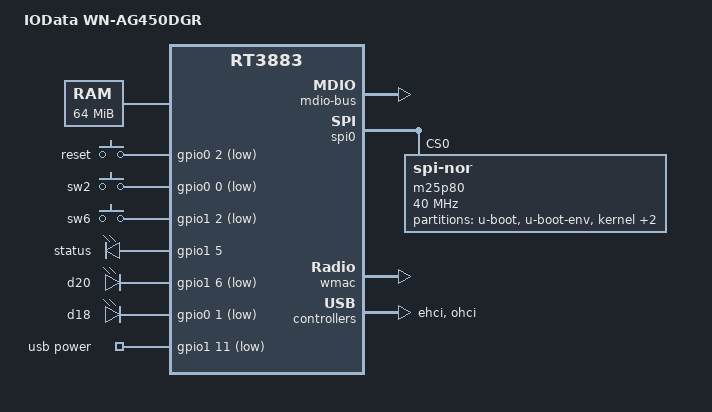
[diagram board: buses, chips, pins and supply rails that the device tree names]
/dts-v1/;

/* This module like Sitecom WLR-6000. But WLR-6000 use PCI chip for 2.4G WiFi. */

#include "rt3883.dtsi"

/ {
	compatible = "WN-AG450DGR", "ralink,rt3883-soc";
	model = "IOData WN-AG450DGR";

	memory@0 {
		device_type = "memory";
		reg = <0x0 0x4000000>;
	};

	gpio-keys-polled {
		compatible = "gpio-keys-polled";
		#address-cells = <1>;
		#size-cells = <0>;
		poll-interval = <100>;

		reset {
			label = "reset";
			gpios = <&gpio0 2 1>;
			linux,code = <0x198>;
		};

		sw2 {
			label = "sw2";
			gpios = <&gpio0 0 1>;
			linux,code = <0x211>;
		};

		sw6 {
			label = "sw6";
			gpios = <&gpio1 2 1>;
			linux,code = <0xf7>;
		};
	};

	gpio-leds {
		compatible = "gpio-leds";

		status {
			label = "status";
			gpios = <&gpio1 5 0>;
		};

		d20 {
			label = "d20";
			gpios = <&gpio1 6 1>;

		};

		d18 {
			label = "d18";
			gpios = <&gpio0 1 1>;
		};

		// d9 ???

	};

	// no effect at FreeBSD
	gpio_export {
		compatible = "gpio-export";
		#size-cells = <0>;

		usb {
			gpio-export,name = "usb power";
			gpio-export,output = <1>;
			gpios = <&gpio1 11 1>;
		};
	};

	mdio-bus {
		compatible = "ralink,rt2880-mdio";
		reg = <0x10100000 0x10000>;
		status = "okay";
	};
};

&spi0 {
	status = "okay";

	m25p80@0 {
		#address-cells = <1>;
		#size-cells = <1>;
		compatible = "jedec,spi-nor";
		reg = <0>;
		linux,modalias = "m25p80", "mx25l6405d";
		spi-max-frequency = <40000000>;

		partition@0 {
			label = "u-boot";
			reg = <0x0 0x30000>;
			read-only;
		};

		partition@10000 {
			label = "u-boot-env";
			reg = <0x30000 0x10000>;
			read-only;
		};

		partition@20000 {
			label = "kernel";
			reg = <0x50000 0x110000>;
		};

		partition@110000 {
			label = "rootfs";
			reg = <0x160000 0x6a0000>;
		};

		partition@800000 {
			label = "upgrade";
			reg = <0x50000 0x7b0000>;
		};
	};
};

&gpio1 {
	status = "okay";
};

&pinctrl {
	state_default: pinctrl0 {
		gpio {
			ralink,group = "i2c", "jtag", "uartf", "lna a", "lna g";
			ralink,function = "gpio";
		};
	};
};

/*
&ethernet {
	mtd-mac-address = <&factory 0x28>;

	port@0 {
		phy-handle = <&phy0>;
		phy-mode = "rgmii";
	};

};
*/

&wmac {
	ralink,5ghz = <0>;
};

&ehci {
	status = "okay";
};

&ohci {
	status = "okay";
};

